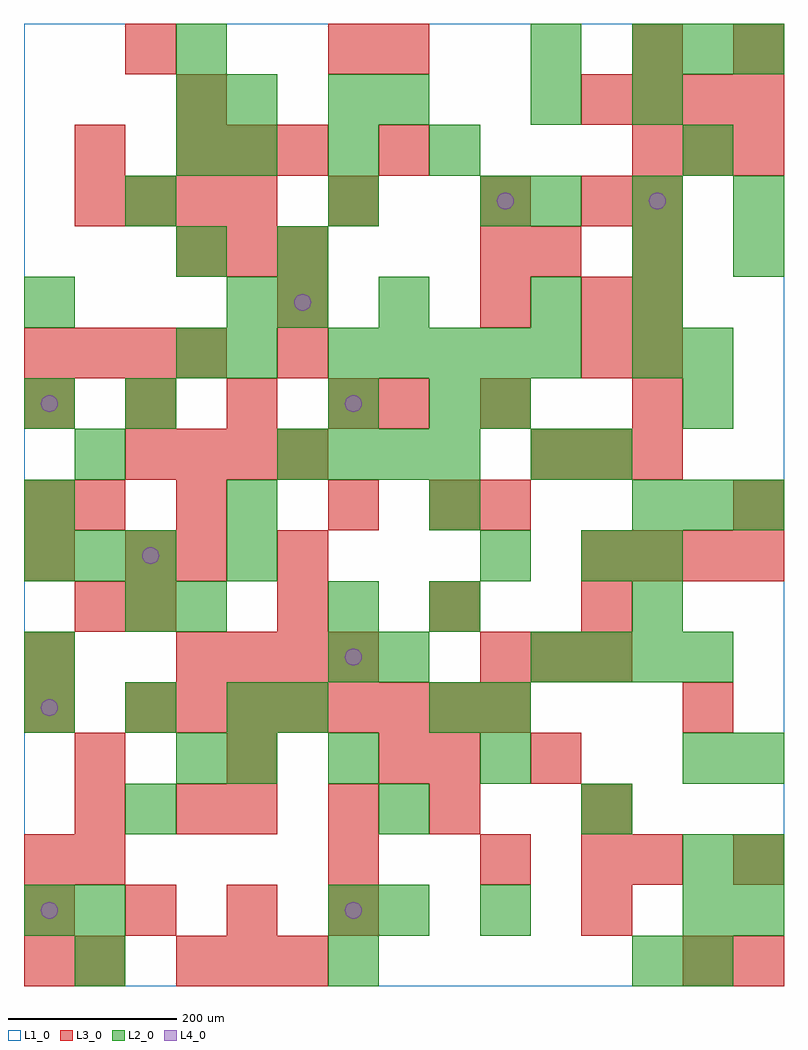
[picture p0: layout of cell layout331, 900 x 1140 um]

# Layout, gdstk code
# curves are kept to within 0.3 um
import gdstk
lib = gdstk.Library(unit=1e-6, precision=1e-09)
def R(c, l, rs):  # rectangles x0, y0, x1, y1
    for r in rs: c.add(gdstk.rectangle(r[:2], r[2:], *l))
def A(c, l, x, y, w, h, nx, ny, dx, dy):  # array of equal rectangles
    R(c, l, [(x+i*dx, y+j*dy, x+i*dx+w, y+j*dy+h) for i in range(nx) for j in range(ny)])
def P(c, l, *ps):  # polygons
    for p in ps: c.add(gdstk.Polygon(p, *l))
L1_0 = (1, 0)
L2_0 = (2, 0)
L3_0 = (3, 0)
L4_0 = (4, 0)

layout331 = lib.new_cell('layout331')
R(layout331, L1_0, [(0,0,900,1140)])
A(layout331, L2_0, 780, 0, 60, 60, 1, 3, 0, 60)
A(layout331, L2_0, 0, 60, 60, 60, 1, 3, 0, 300)
A(layout331, L2_0, 120, 180, 60, 60, 1, 4, 0, 240)
A(layout331, L2_0, 240, 240, 60, 60, 1, 3, 0, 240)
A(layout331, L2_0, 840, 240, 60, 60, 1, 3, 0, 300)
A(layout331, L2_0, 0, 300, 60, 60, 3, 1, 120, 0)
A(layout331, L2_0, 540, 300, 60, 60, 1, 3, 0, 180)
A(layout331, L2_0, 600, 360, 60, 60, 4, 1, 60, 0)
A(layout331, L2_0, 360, 420, 60, 60, 1, 3, 0, 240)
A(layout331, L2_0, 0, 480, 60, 60, 3, 1, 60, 0)
A(layout331, L2_0, 0, 540, 60, 60, 4, 1, 240, 0)
A(layout331, L2_0, 300, 600, 60, 60, 4, 1, 60, 0)
A(layout331, L2_0, 180, 720, 60, 60, 1, 3, 0, 120)
A(layout331, L2_0, 360, 720, 60, 60, 5, 1, 60, 0)
A(layout331, L2_0, 720, 720, 60, 60, 1, 3, 0, 60)
A(layout331, L2_0, 600, 900, 60, 60, 3, 1, 120, 0)
A(layout331, L2_0, 240, 960, 60, 60, 3, 1, 120, 0)
A(layout331, L2_0, 720, 1080, 60, 60, 3, 1, 60, 0)
R(layout331, L2_0, [(60,0,120,60), (360,0,420,60), (720,0,780,60), (60,60,120,120), (360,60,420,120), (420,60,480,120), (540,60,600,120), (840,60,900,120), (840,120,900,180), (420,180,480,240), (660,180,720,240), (180,240,240,300), (360,240,420,300), (540,240,600,300), (780,240,840,300), (300,300,360,360), (480,300,540,360), (360,360,420,420), (420,360,480,420), (180,420,240,480), (480,420,540,480), (720,420,780,480), (660,480,720,540), (720,480,780,540), (780,540,840,600), (60,600,120,660), (600,600,660,660), (660,600,720,660), (480,660,540,720), (780,660,840,720), (780,720,840,780), (0,780,60,840), (240,780,300,840), (300,780,360,840), (420,780,480,840), (600,780,660,840), (300,840,360,900), (540,900,600,960), (780,960,840,1020), (180,1020,240,1080), (240,1020,300,1080), (360,1020,420,1080), (420,1020,480,1080), (600,1020,660,1080), (720,1020,780,1080), (180,1080,240,1140), (600,1080,660,1140)])
A(layout331, L3_0, 180, 0, 60, 60, 3, 2, 60, 840)
A(layout331, L3_0, 0, 60, 60, 60, 4, 2, 120, 600)
A(layout331, L3_0, 660, 60, 60, 60, 1, 3, 0, 60)
A(layout331, L3_0, 240, 180, 60, 60, 3, 1, 120, 0)
A(layout331, L3_0, 60, 240, 60, 60, 3, 1, 180, 0)
A(layout331, L3_0, 120, 300, 60, 60, 8, 1, 60, 0)
A(layout331, L3_0, 180, 360, 60, 60, 4, 1, 60, 0)
A(layout331, L3_0, 540, 360, 60, 60, 3, 1, 60, 0)
A(layout331, L3_0, 120, 420, 60, 60, 4, 1, 180, 0)
A(layout331, L3_0, 660, 480, 60, 60, 4, 2, 60, 540)
A(layout331, L3_0, 540, 540, 60, 60, 1, 3, 0, 120)
A(layout331, L3_0, 120, 600, 60, 60, 4, 1, 60, 0)
A(layout331, L3_0, 600, 600, 60, 60, 3, 1, 60, 0)
A(layout331, L3_0, 720, 660, 60, 60, 1, 5, 0, 60)
A(layout331, L3_0, 0, 720, 60, 60, 4, 1, 60, 0)
A(layout331, L3_0, 60, 900, 60, 60, 4, 1, 60, 0)
A(layout331, L3_0, 180, 960, 60, 60, 3, 1, 60, 0)
A(layout331, L3_0, 720, 960, 60, 60, 3, 1, 60, 0)
R(layout331, L3_0, [(0,0,60,60), (60,0,120,60), (780,0,840,60), (840,0,900,60), (0,120,60,180), (60,120,120,180), (360,120,420,180), (540,120,600,180), (720,120,780,180), (840,120,900,180), (60,180,120,240), (180,180,240,240), (480,240,540,300), (600,240,660,300), (0,300,60,360), (780,300,840,360), (0,360,60,420), (60,420,120,480), (0,480,60,540), (120,480,180,540), (180,480,240,540), (300,480,360,540), (0,540,60,600), (60,540,120,600), (180,540,240,600), (360,540,420,600), (480,540,540,600), (840,540,900,600), (420,660,480,720), (300,720,360,780), (660,720,720,780), (300,780,360,840), (660,780,720,840), (540,840,600,900), (600,840,660,900), (360,900,420,960), (540,900,600,960), (660,900,720,960), (60,960,120,1020), (420,960,480,1020), (180,1020,240,1080), (120,1080,180,1140), (360,1080,420,1140), (420,1080,480,1140), (720,1080,780,1140), (840,1080,900,1140)])
P(layout331, L4_0, [(40,90),(39.239,93.827),(37.071,97.071),(33.827,99.239),(30,100),(26.173,99.239),(22.929,97.071),(20.761,93.827),(20,90),(20.761,86.173),(22.929,82.929),(26.173,80.761),(30,80),(33.827,80.761),(37.071,82.929),(39.239,86.173)],
  [(40,330),(39.239,333.827),(37.071,337.071),(33.827,339.239),(30,340),(26.173,339.239),(22.929,337.071),(20.761,333.827),(20,330),(20.761,326.173),(22.929,322.929),(26.173,320.761),(30,320),(33.827,320.761),(37.071,322.929),(39.239,326.173)],
  [(40,690),(39.239,693.827),(37.071,697.071),(33.827,699.239),(30,700),(26.173,699.239),(22.929,697.071),(20.761,693.827),(20,690),(20.761,686.173),(22.929,682.929),(26.173,680.761),(30,680),(33.827,680.761),(37.071,682.929),(39.239,686.173)],
  [(160,510),(159.239,513.827),(157.071,517.071),(153.827,519.239),(150,520),(146.173,519.239),(142.929,517.071),(140.761,513.827),(140,510),(140.761,506.173),(142.929,502.929),(146.173,500.761),(150,500),(153.827,500.761),(157.071,502.929),(159.239,506.173)],
  [(340,810),(339.239,813.827),(337.071,817.071),(333.827,819.239),(330,820),(326.173,819.239),(322.929,817.071),(320.761,813.827),(320,810),(320.761,806.173),(322.929,802.929),(326.173,800.761),(330,800),(333.827,800.761),(337.071,802.929),(339.239,806.173)],
  [(400,90),(399.239,93.827),(397.071,97.071),(393.827,99.239),(390,100),(386.173,99.239),(382.929,97.071),(380.761,93.827),(380,90),(380.761,86.173),(382.929,82.929),(386.173,80.761),(390,80),(393.827,80.761),(397.071,82.929),(399.239,86.173)],
  [(400,390),(399.239,393.827),(397.071,397.071),(393.827,399.239),(390,400),(386.173,399.239),(382.929,397.071),(380.761,393.827),(380,390),(380.761,386.173),(382.929,382.929),(386.173,380.761),(390,380),(393.827,380.761),(397.071,382.929),(399.239,386.173)],
  [(400,690),(399.239,693.827),(397.071,697.071),(393.827,699.239),(390,700),(386.173,699.239),(382.929,697.071),(380.761,693.827),(380,690),(380.761,686.173),(382.929,682.929),(386.173,680.761),(390,680),(393.827,680.761),(397.071,682.929),(399.239,686.173)],
  [(580,930),(579.239,933.827),(577.071,937.071),(573.827,939.239),(570,940),(566.173,939.239),(562.929,937.071),(560.761,933.827),(560,930),(560.761,926.173),(562.929,922.929),(566.173,920.761),(570,920),(573.827,920.761),(577.071,922.929),(579.239,926.173)],
  [(760,930),(759.239,933.827),(757.071,937.071),(753.827,939.239),(750,940),(746.173,939.239),(742.929,937.071),(740.761,933.827),(740,930),(740.761,926.173),(742.929,922.929),(746.173,920.761),(750,920),(753.827,920.761),(757.071,922.929),(759.239,926.173)])

lib.write_gds('layout331.gds')
